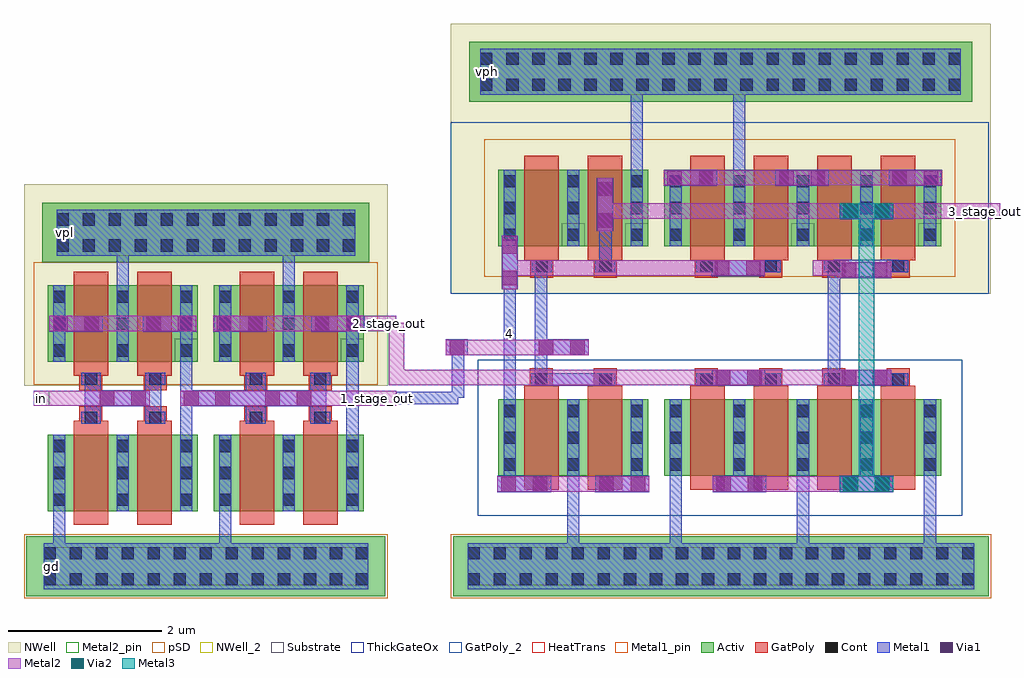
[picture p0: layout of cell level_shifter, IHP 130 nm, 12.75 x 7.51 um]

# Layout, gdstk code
from math import pi, radians
import gdstk
lib = gdstk.Library(unit=1e-6, precision=1e-09)
def R(c, l, rs):  # rectangles x0, y0, x1, y1
    for r in rs: c.add(gdstk.rectangle(r[:2], r[2:], *l))
def A(c, l, x, y, w, h, nx, ny, dx, dy):  # array of equal rectangles
    R(c, l, [(x+i*dx, y+j*dy, x+i*dx+w, y+j*dy+h) for i in range(nx) for j in range(ny)])
Activ = (1, 0)
GatPoly = (5, 0)
GatPoly_2 = (5, 2)
Cont = (6, 0)
Metal1 = (8, 0)
Metal1_pin = (8, 2)
Metal2 = (10, 0)
Metal2_pin = (10, 2)
pSD = (14, 0)
Via1 = (19, 0)
Via2 = (29, 0)
Metal3 = (30, 0)
NWell = (31, 0)
NWell_2 = (31, 2)
Substrate = (40, 0)
ThickGateOx = (44, 0)
HeatTrans = (51, 0)

nmos = lib.new_cell('nmos')
R(nmos, Activ, [(0,0,0.3,0.3), (0,0,1.13,1), (0.83,0,1.13,0.3)])
R(nmos, GatPoly, [(0.34,-0.18,0.79,1.18)])
R(nmos, GatPoly_2, [(0.34,-0.18,0.79,1.18)])
A(nmos, Cont, 0.07, 0.07, 0.16, 0.16, 1, 3, 0, 0.35)
A(nmos, Cont, 0.9, 0.07, 0.16, 0.16, 1, 3, 0, 0.35)
R(nmos, Metal1, [(0.07,0,0.23,1), (0.9,0,1.06,1)])
R(nmos, Metal1_pin, [(0.07,0,0.23,1), (0.9,0,1.06,1)])
R(nmos, HeatTrans, [(0.34,-0.18,0.79,1.18)])
nmos.add(gdstk.Label('nmos', (0.565,0.5), layer=63, texttype=0))
nmos.add(gdstk.Label('nmos', (0.565,0.5), layer=51, texttype=0))

pmos = lib.new_cell('pmos')
A(pmos, Activ, 0, 0, 0.3, 0.3, 3, 1, 0.83, 0)
R(pmos, Activ, [(0,0,1.96,1)])
R(pmos, GatPoly, [(0.34,-0.18,0.79,1.18), (0.34,-0.18,0.79,1.18), (1.17,-0.18,1.62,1.18)])
A(pmos, Cont, 0.07, 0.07, 0.16, 0.16, 3, 3, 0.83, 0.35)
R(pmos, Metal1, [(0.07,0,0.23,1), (0.07,0,0.23,1), (0.9,0,1.06,1), (0.9,0,1.06,1), (1.73,0,1.89,1)])
R(pmos, pSD, [(-0.18,-0.3,2.14,1.3)])
R(pmos, NWell, [(-0.31,-0.31,2.27,1.31)])
R(pmos, Substrate, [(1.66,0,1.96,0.3)])
R(pmos, HeatTrans, [(0.34,-0.18,0.79,1.18), (1.17,-0.18,1.62,1.18)])
pmos.add(gdstk.Label('pmos', (0.565,0.5), layer=63, texttype=0))
pmos.add(gdstk.Label('pmos', (0.565,0.5), layer=51, texttype=0))
pmos.add(gdstk.Label('pmos', (1.395,0.5), layer=51, texttype=0))

ntap1 = lib.new_cell('ntap1')
R(ntap1, Activ, [(0,0,4.27,0.78)])
A(ntap1, Cont, 0.185, 0.14, 0.16, 0.16, 12, 2, 0.34, 0.34)
R(ntap1, Metal1, [(0.185,0.09,4.085,0.69)])
R(ntap1, Metal1_pin, [(0.185,0.09,4.085,0.69), (0.185,0.14,4.085,0.64)])
R(ntap1, NWell, [(-0.24,-0.24,4.51,1.02), (0,0,4.27,0.78)])
R(ntap1, NWell_2, [(0,0,4.27,0.78)])
ntap1.add(gdstk.Label('well', (2.135,0.01), layer=31, texttype=0))
ntap1.add(gdstk.Label('well', (2.135,0.01), layer=63, texttype=0))

via_3 = lib.new_cell('Via$3')
R(via_3, Metal1, [(-0.35,-0.105,0.35,0.105)])
R(via_3, Metal2, [(-0.35,-0.1,0.35,0.1)])
R(via_3, Via1, [(-0.3,-0.095,-0.11,0.095), (0.11,-0.095,0.3,0.095)])

ptap1 = lib.new_cell('ptap1')
R(ptap1, Activ, [(0,0,4.69,0.78)])
A(ptap1, Cont, 0.225, 0.14, 0.16, 0.16, 13, 2, 0.34, 0.34)
R(ptap1, Metal1, [(0.225,0.09,4.465,0.69), (0.225,0.14,4.465,0.64)])
R(ptap1, Metal1_pin, [(0.225,0.14,4.465,0.64)])
R(ptap1, pSD, [(-0.03,-0.03,4.72,0.81)])
R(ptap1, Substrate, [(0,0,4.69,0.78)])
ptap1.add(gdstk.Label('sub!', (2.345,0.01), layer=63, texttype=0))
ptap1.add(gdstk.Label('sub!', (2.345,0.01), layer=40, texttype=0))

via = lib.new_cell('Via')
R(via, GatPoly, [(-0.15,-0.15,0.15,0.15)])
R(via, Cont, [(-0.08,-0.08,0.08,0.08)])
R(via, Metal1, [(-0.13,-0.08,0.13,0.08)])

pmoshv = lib.new_cell('pmosHV')
R(pmoshv, Activ, [(0,0,0.3,0.3), (0,0,1.13,1), (0.83,0,1.13,0.3)])
R(pmoshv, GatPoly, [(0.34,-0.18,0.79,1.18)])
R(pmoshv, GatPoly_2, [(0.34,-0.18,0.79,1.18)])
A(pmoshv, Cont, 0.07, 0.07, 0.16, 0.16, 1, 3, 0, 0.35)
A(pmoshv, Cont, 0.9, 0.07, 0.16, 0.16, 1, 3, 0, 0.35)
R(pmoshv, Metal1, [(0.07,0,0.23,1), (0.9,0,1.06,1)])
R(pmoshv, Metal1_pin, [(0.07,0,0.23,1), (0.9,0,1.06,1)])
R(pmoshv, pSD, [(-0.18,-0.4,1.31,1.4)])
R(pmoshv, NWell, [(-0.62,-0.62,1.75,1.62)])
R(pmoshv, Substrate, [(0.83,0,1.13,0.3)])
R(pmoshv, ThickGateOx, [(-0.62,-0.62,1.75,1.62)])
R(pmoshv, HeatTrans, [(0.34,-0.18,0.79,1.18)])
pmoshv.add(gdstk.Label('pmosHV', (0.565,0.5), layer=63, texttype=0))
pmoshv.add(gdstk.Label('pmos', (0.565,0.5), layer=51, texttype=0))

pmoshv_1 = lib.new_cell('pmosHV$1')
A(pmoshv_1, Activ, 0, 0, 0.3, 0.3, 3, 1, 0.83, 0)
R(pmoshv_1, Activ, [(0,0,1.96,1)])
R(pmoshv_1, GatPoly, [(0.34,-0.18,0.79,1.18), (1.17,-0.18,1.62,1.18)])
R(pmoshv_1, GatPoly_2, [(0.34,-0.18,0.79,1.18)])
A(pmoshv_1, Cont, 0.07, 0.07, 0.16, 0.16, 3, 3, 0.83, 0.35)
A(pmoshv_1, Metal1, 0.07, 0, 0.16, 1, 3, 1, 0.83, 0)
R(pmoshv_1, Metal1_pin, [(0.07,0,0.23,1), (0.9,0,1.06,1)])
R(pmoshv_1, pSD, [(-0.18,-0.4,2.14,1.4)])
R(pmoshv_1, NWell, [(-0.62,-0.62,2.58,1.62)])
R(pmoshv_1, Substrate, [(1.66,0,1.96,0.3)])
R(pmoshv_1, ThickGateOx, [(-0.62,-0.62,2.58,1.62)])
R(pmoshv_1, HeatTrans, [(0.34,-0.18,0.79,1.18), (1.17,-0.18,1.62,1.18)])
pmoshv_1.add(gdstk.Label('pmosHV', (0.565,0.5), layer=63, texttype=0))
pmoshv_1.add(gdstk.Label('pmos', (0.565,0.5), layer=51, texttype=0))
pmoshv_1.add(gdstk.Label('pmos', (1.395,0.5), layer=51, texttype=0))

nmoshv_1 = lib.new_cell('nmosHV$1')
A(nmoshv_1, Activ, 0, 0, 0.3, 0.3, 5, 1, 0.83, 0)
R(nmoshv_1, Activ, [(0,0,3.62,1)])
A(nmoshv_1, GatPoly, 0.34, -0.18, 0.45, 1.36, 4, 1, 0.83, 0)
R(nmoshv_1, GatPoly_2, [(0.34,-0.18,0.79,1.18)])
A(nmoshv_1, Cont, 0.07, 0.07, 0.16, 0.16, 5, 3, 0.83, 0.35)
A(nmoshv_1, Metal1, 0.07, 0, 0.16, 1, 5, 1, 0.83, 0)
R(nmoshv_1, Metal1_pin, [(0.07,0,0.23,1), (0.9,0,1.06,1)])
R(nmoshv_1, ThickGateOx, [(-0.27,-0.52,3.89,1.52)])
A(nmoshv_1, HeatTrans, 0.34, -0.18, 0.45, 1.36, 4, 1, 0.83, 0)
nmoshv_1.add(gdstk.Label('nmosHV', (0.565,0.5), layer=63, texttype=0))
nmoshv_1.add(gdstk.Label('nmosHV', (0.565,0.5), layer=51, texttype=0))
nmoshv_1.add(gdstk.Label('nmosHV', (1.395,0.5), layer=51, texttype=0))
nmoshv_1.add(gdstk.Label('nmosHV', (2.225,0.5), layer=51, texttype=0))
nmoshv_1.add(gdstk.Label('nmosHV', (3.055,0.5), layer=51, texttype=0))

ntap1_1 = lib.new_cell('ntap1$1')
R(ntap1_1, Activ, [(0,0,6.57,0.78)])
A(ntap1_1, Cont, 0.145, 0.14, 0.16, 0.16, 19, 2, 0.34, 0.34)
R(ntap1_1, Metal1, [(0.145,0.09,6.425,0.69)])
R(ntap1_1, Metal1_pin, [(0.145,0.09,6.425,0.69), (0.145,0.14,6.425,0.64)])
R(ntap1_1, NWell, [(-0.24,-0.24,6.81,1.02), (0,0,6.57,0.78)])
R(ntap1_1, NWell_2, [(0,0,6.57,0.78)])
ntap1_1.add(gdstk.Label('well', (3.285,0.01), layer=31, texttype=0))
ntap1_1.add(gdstk.Label('well', (3.285,0.01), layer=63, texttype=0))

nmoshv = lib.new_cell('nmosHV')
A(nmoshv, Activ, 0, 0, 0.3, 0.3, 3, 1, 0.83, 0)
R(nmoshv, Activ, [(0,0,1.96,1)])
R(nmoshv, GatPoly, [(0.34,-0.18,0.79,1.18), (1.17,-0.18,1.62,1.18)])
R(nmoshv, GatPoly_2, [(0.34,-0.18,0.79,1.18)])
A(nmoshv, Cont, 0.07, 0.07, 0.16, 0.16, 3, 3, 0.83, 0.35)
A(nmoshv, Metal1, 0.07, 0, 0.16, 1, 3, 1, 0.83, 0)
R(nmoshv, Metal1_pin, [(0.07,0,0.23,1), (0.9,0,1.06,1)])
R(nmoshv, ThickGateOx, [(-0.27,-0.52,2.23,1.52)])
R(nmoshv, HeatTrans, [(0.34,-0.18,0.79,1.18), (1.17,-0.18,1.62,1.18)])
nmoshv.add(gdstk.Label('nmosHV', (0.565,0.5), layer=63, texttype=0))
nmoshv.add(gdstk.Label('nmosHV', (0.565,0.5), layer=51, texttype=0))
nmoshv.add(gdstk.Label('nmosHV', (1.395,0.5), layer=51, texttype=0))

ptap1_1 = lib.new_cell('ptap1$1')
R(ptap1_1, Activ, [(0,0,7,0.78)])
A(ptap1_1, Cont, 0.19, 0.14, 0.16, 0.16, 20, 2, 0.34, 0.34)
R(ptap1_1, Metal1, [(0.19,0.09,6.81,0.69), (0.19,0.14,6.81,0.64)])
R(ptap1_1, Metal1_pin, [(0.19,0.14,6.81,0.64)])
R(ptap1_1, pSD, [(-0.03,-0.03,7.03,0.81)])
R(ptap1_1, Substrate, [(0,0,7,0.78)])
ptap1_1.add(gdstk.Label('sub!', (3.5,0.01), layer=63, texttype=0))
ptap1_1.add(gdstk.Label('sub!', (3.5,0.01), layer=40, texttype=0))

via_2 = lib.new_cell('Via$2')
R(via_2, Metal1, [(-0.35,-0.105,0.35,0.105)])
R(via_2, Metal2, [(-0.35,-0.1,0.35,0.1)])
R(via_2, Via1, [(-0.3,-0.095,-0.11,0.095), (0.11,-0.095,0.3,0.095)])

via_7 = lib.new_cell('Via$7')
R(via_7, Metal2, [(-0.35,-0.1,0.35,0.1)])
R(via_7, Via2, [(-0.3,-0.095,-0.11,0.095), (0.11,-0.095,0.3,0.095)])
R(via_7, Metal3, [(-0.35,-0.1,0.35,0.1)])

via_4 = lib.new_cell('Via$4')
R(via_4, Metal1, [(-0.145,-0.105,0.145,0.105)])
R(via_4, Metal2, [(-0.145,-0.1,0.145,0.1)])
R(via_4, Via1, [(-0.095,-0.095,0.095,0.095)])

level_shifter = lib.new_cell('level_shifter')
R(level_shifter, Metal1, [(24.51,24.025,24.56,24.375), (25.14,24.025,25.35,24.375), (26.455,24.025,26.505,24.375), (26.665,24.025,26.715,24.375), (27.295,24.025,27.35,24.375), (26.295,24.095,26.675,24.305)])
R(level_shifter, Metal1_pin, [(23.81,21.905,24.01,22.105), (23.98,26.265,24.18,26.465), (29.515,28.365,29.715,28.565)])
R(level_shifter, Metal2_pin, [(23.685,24.1,23.885,24.3)])
R(level_shifter, NWell, [(29.13,25.565,36.185,29.095)])
level_shifter.add(gdstk.FlexPath([(24.015,22.725),(24.015,22.305)], 0.16, ends="flush", simple_path=True, layer=8, datatype=0))  # Metal1
level_shifter.add(gdstk.FlexPath([(26.585,23.945),(26.585,24.455)], 0.16, ends="flush", simple_path=True, layer=8, datatype=0))  # Metal1
level_shifter.add(gdstk.FlexPath([(27.425,23.945),(27.425,24.455)], 0.16, ends="flush", simple_path=True, layer=8, datatype=0))  # Metal1
level_shifter.add(gdstk.FlexPath([(26.215,25.175),(26.215,25.175)], 0.16, ends="flush", simple_path=True, layer=8, datatype=0))  # Metal1
level_shifter.add(gdstk.FlexPath([(27.845,24.675),(27.845,23.725)], 0.16, ends="flush", simple_path=True, layer=8, datatype=0))  # Metal1
level_shifter.add(gdstk.FlexPath([(26.185,22.725),(26.185,22.305)], 0.16, ends="flush", simple_path=True, layer=8, datatype=0))  # Metal1
level_shifter.add(gdstk.FlexPath([(24.845,25.675),(24.845,26.065)], 0.16, ends="flush", simple_path=True, layer=8, datatype=0))  # Metal1
level_shifter.add(gdstk.FlexPath([(27.015,25.675),(27.015,26.065)], 0.16, ends="flush", simple_path=True, layer=8, datatype=0))  # Metal1
level_shifter.add(gdstk.FlexPath([(24.43,23.945),(24.43,24.455)], 0.16, ends="flush", simple_path=True, layer=8, datatype=0))  # Metal1
level_shifter.add(gdstk.FlexPath([(25.27,23.945),(25.27,24.455)], 0.16, ends="flush", simple_path=True, layer=8, datatype=0))  # Metal1
level_shifter.add(gdstk.FlexPath([(25.675,24.675),(25.675,23.725)], 0.16, ends="flush", simple_path=True, layer=8, datatype=0))  # Metal1
level_shifter.add(gdstk.FlexPath([(24.015,25.175),(24.015,25.175)], 0.16, ends="flush", simple_path=True, layer=8, datatype=0))  # Metal1
level_shifter.add(gdstk.FlexPath([(28.42,24.205),(29.225,24.205)], 0.16, ends="flush", simple_path=True, layer=8, datatype=0))  # Metal1
level_shifter.add(gdstk.FlexPath([(29.225,24.21),(29.225,24.865)], 0.16, ends="flush", simple_path=True, layer=8, datatype=0))  # Metal1
level_shifter.add(gdstk.FlexPath([(31.15,24.445),(30.31,24.445)], 0.16, ends="flush", simple_path=True, layer=8, datatype=0))  # Metal1
level_shifter.add(gdstk.FlexPath([(30.31,25.925),(30.31,24.445)], 0.16, ends="flush", simple_path=True, layer=8, datatype=0))  # Metal1
level_shifter.add(gdstk.FlexPath([(30.31,25.135),(30.31,25.135)], 0.16, ends="flush", simple_path=True, layer=8, datatype=0))  # Metal1
level_shifter.add(gdstk.FlexPath([(29.9,26.185),(29.9,24.185)], 0.16, ends="flush", simple_path=True, layer=8, datatype=0))  # Metal1
level_shifter.add(gdstk.FlexPath([(30.73,23.185),(30.73,22.305)], 0.16, ends="flush", simple_path=True, layer=8, datatype=0))  # Metal1
level_shifter.add(gdstk.FlexPath([(31.56,27.185),(31.56,28.165)], 0.16, ends="flush", simple_path=True, layer=8, datatype=0))  # Metal1
level_shifter.add(gdstk.FlexPath([(32.9,27.185),(32.9,28.165)], 0.16, ends="flush", simple_path=True, layer=8, datatype=0))  # Metal1
level_shifter.add(gdstk.FlexPath([(34.135,25.93),(34.975,25.93)], 0.16, ends="flush", simple_path=True, layer=8, datatype=0))  # Metal1
level_shifter.add(gdstk.FlexPath([(31.15,25.925),(31.15,25.925)], 0.16, ends="flush", simple_path=True, layer=8, datatype=0))  # Metal1
level_shifter.add(gdstk.FlexPath([(34.56,26.645),(34.56,26.645)], 0.16, ends="flush", simple_path=True, layer=8, datatype=0))  # Metal1
level_shifter.add(gdstk.FlexPath([(34.135,25.93),(34.135,24.445)], 0.16, ends="flush", simple_path=True, layer=8, datatype=0))  # Metal1
level_shifter.add(gdstk.FlexPath([(31.15,25.925),(31.15,26.645)], 0.16, ends="flush", simple_path=True, layer=8, datatype=0))  # Metal1
level_shifter.add(gdstk.FlexPath([(32.47,24.445),(33.31,24.445)], 0.16, ends="flush", simple_path=True, layer=8, datatype=0))  # Metal1
level_shifter.add(gdstk.FlexPath([(34.135,24.445),(34.975,24.445)], 0.16, ends="flush", simple_path=True, layer=8, datatype=0))  # Metal1
level_shifter.add(gdstk.FlexPath([(34.135,25.93),(34.975,25.93)], 0.16, ends="flush", simple_path=True, layer=8, datatype=0))  # Metal1
level_shifter.add(gdstk.FlexPath([(29.92,23.08),(29.92,23.08)], 0.16, ends="flush", simple_path=True, layer=8, datatype=0))  # Metal1
level_shifter.add(gdstk.FlexPath([(32.07,23.185),(32.07,22.305)], 0.16, ends="flush", simple_path=True, layer=8, datatype=0))  # Metal1
level_shifter.add(gdstk.FlexPath([(33.73,23.185),(33.73,22.305)], 0.16, ends="flush", simple_path=True, layer=8, datatype=0))  # Metal1
level_shifter.add(gdstk.FlexPath([(35.39,23.185),(35.39,22.305)], 0.16, ends="flush", simple_path=True, layer=8, datatype=0))  # Metal1
level_shifter.add(gdstk.FlexPath([(32.64,25.9),(29.9,25.9)], 0.2, ends="flush", simple_path=True, layer=10, datatype=0))  # Metal2
level_shifter.add(gdstk.FlexPath([(24.64,24.2),(23.685,24.2)], 0.2, ends="flush", simple_path=True, layer=10, datatype=0))  # Metal2
level_shifter.add(gdstk.FlexPath([(26.15,24.2),(26.8,24.2)], 0.2, ends="flush", simple_path=True, layer=10, datatype=0))  # Metal2
level_shifter.add(gdstk.FlexPath([(26.64,25.175),(27.45,25.175)], 0.2, ends="flush", simple_path=True, layer=10, datatype=0))  # Metal2
level_shifter.add(gdstk.FlexPath([(27.21,24.2),(28.42,24.2)], 0.2, ends="flush", simple_path=True, layer=10, datatype=0))  # Metal2
level_shifter.add(gdstk.FlexPath([(27.86,25.175),(28.42,25.175)], 0.2, ends="flush", simple_path=True, layer=10, datatype=0))  # Metal2
level_shifter.add(gdstk.FlexPath([(28.42,24.205),(28.42,24.205)], 0.2, ends="flush", simple_path=True, layer=10, datatype=0))  # Metal2
level_shifter.add(gdstk.FlexPath([(24.44,25.175),(25.25,25.175)], 0.2, ends="flush", simple_path=True, layer=10, datatype=0))  # Metal2
level_shifter.add(gdstk.FlexPath([(34.74,24.47),(29.065,24.47)], 0.2, ends="flush", simple_path=True, layer=10, datatype=0))  # Metal2
level_shifter.add(gdstk.FlexPath([(28.42,25.185),(28.42,24.47),(29.22,24.47),(29.22,24.47)], 0.2, ends="flush", simple_path=True, layer=10, datatype=0))  # Metal2
level_shifter.add(gdstk.FlexPath([(30.375,24.865),(29.13,24.865)], 0.2, ends="flush", simple_path=True, layer=10, datatype=0))  # Metal2
level_shifter.add(gdstk.FlexPath([(30.345,23.08),(31.155,23.08)], 0.2, ends="flush", simple_path=True, layer=10, datatype=0))  # Metal2
level_shifter.add(gdstk.FlexPath([(33.86,25.9),(34.33,25.9)], 0.2, ends="flush", simple_path=True, layer=10, datatype=0))  # Metal2
level_shifter.add(gdstk.FlexPath([(34.56,26.645),(34.56,26.645)], 0.2, ends="flush", simple_path=True, layer=10, datatype=0))  # Metal2
level_shifter.add(gdstk.FlexPath([(32.055,27.08),(35.55,27.08)], 0.2, ends="flush", simple_path=True, layer=10, datatype=0))  # Metal2
level_shifter.add(gdstk.FlexPath([(34.765,26.645),(31.145,26.645)], 0.2, ends="flush", simple_path=True, layer=10, datatype=0))  # Metal2
level_shifter.add(gdstk.FlexPath([(34.355,23.08),(32.9,23.08)], 0.2, ends="flush", simple_path=True, layer=10, datatype=0))  # Metal2
level_shifter.add(gdstk.FlexPath([(34.765,26.645),(36.305,26.645)], 0.2, ends="flush", simple_path=True, layer=10, datatype=0))  # Metal2
level_shifter.add(gdstk.FlexPath([(34.56,26.645),(34.56,23.08)], 0.2, ends="flush", simple_path=True, layer=30, datatype=0))  # Metal3
level_shifter.add(gdstk.FlexPath([(26.585,24.495),(26.585,24.495)], 0.16, ends="flush", simple_path=True, layer=5, datatype=0))  # GatPoly
level_shifter.add(gdstk.FlexPath([(24.43,24.495),(24.43,24.495)], 0.16, ends="flush", simple_path=True, layer=5, datatype=0))  # GatPoly
level_shifter.add(gdstk.Reference(nmos, (23.865,22.725)))
level_shifter.add(gdstk.Reference(nmos, (24.695,22.725)))
level_shifter.add(gdstk.Reference(pmos, (26.035,24.675)))
level_shifter.add(gdstk.Reference(nmos, (26.035,22.725)))
level_shifter.add(gdstk.Reference(nmos, (26.865,22.725)))
level_shifter.add(gdstk.Reference(ntap1, (23.795,25.975)))
level_shifter.add(gdstk.Reference(via_3, (25.455,25.175)))
level_shifter.add(gdstk.Reference(via_3, (24.235,25.175)))
level_shifter.add(gdstk.Reference(pmos, (23.865,24.675)))
level_shifter.add(gdstk.Reference(ptap1, (23.585,21.615)))
level_shifter.add(gdstk.Reference(via, (26.585,23.945)))
level_shifter.add(gdstk.Reference(via, (27.425,23.945)))
level_shifter.add(gdstk.Reference(via_3, (27.005,24.2)))
level_shifter.add(gdstk.Reference(via, (26.585,24.455)))
level_shifter.add(gdstk.Reference(via, (27.425,24.455)))
level_shifter.add(gdstk.Reference(via_3, (25.945,24.2)))
level_shifter.add(gdstk.Reference(via_3, (27.655,25.175)))
level_shifter.add(gdstk.Reference(via_3, (26.375,25.175)))
level_shifter.add(gdstk.Reference(pmoshv, (29.75,26.185)))
level_shifter.add(gdstk.Reference(pmoshv, (30.58,26.185)))
level_shifter.add(gdstk.Reference(pmoshv_1, (31.92,26.185)))
level_shifter.add(gdstk.Reference(nmoshv_1, (31.92,23.185)))
level_shifter.add(gdstk.Reference(ntap1_1, (29.37,28.075)))
level_shifter.add(gdstk.Reference(via, (25.27,24.455)))
level_shifter.add(gdstk.Reference(via, (24.43,24.455)))
level_shifter.add(gdstk.Reference(via_3, (24.845,24.2)))
level_shifter.add(gdstk.Reference(via, (25.27,23.945)))
level_shifter.add(gdstk.Reference(via, (24.43,23.945)))
level_shifter.add(gdstk.Reference(via, (30.31,24.445)))
level_shifter.add(gdstk.Reference(via, (31.15,24.445)))
level_shifter.add(gdstk.Reference(nmoshv, (29.75,23.185)))
level_shifter.add(gdstk.Reference(ptap1_1, (29.16,21.615)))
level_shifter.add(gdstk.Reference(via, (30.32,25.925), rotation=pi))
level_shifter.add(gdstk.Reference(via, (31.15,25.925)))
level_shifter.add(gdstk.Reference(via_2, (30.58,24.865)))
level_shifter.add(gdstk.Reference(via, (32.47,24.445)))
level_shifter.add(gdstk.Reference(via, (33.31,24.445)))
level_shifter.add(gdstk.Reference(via, (34.135,24.445), rotation=pi))
level_shifter.add(gdstk.Reference(via, (34.975,24.445)))
level_shifter.add(gdstk.Reference(via, (33.31,25.925)))
level_shifter.add(gdstk.Reference(via, (34.135,25.925)))
level_shifter.add(gdstk.Reference(via_2, (29.9,25.975), rotation=pi/2))
level_shifter.add(gdstk.Reference(via_2, (32.88,25.9)))
level_shifter.add(gdstk.Reference(via_2, (32.26,27.08)))
level_shifter.add(gdstk.Reference(via_2, (33.72,27.08)))
level_shifter.add(gdstk.Reference(via_2, (35.2,27.08)))
level_shifter.add(gdstk.Reference(via_2, (32.89,24.47)))
level_shifter.add(gdstk.Reference(via_3, (30.09,23.08)))
level_shifter.add(gdstk.Reference(via_2, (31.145,26.73), rotation=3*pi/2))
level_shifter.add(gdstk.Reference(via_2, (34.535,25.875)))
level_shifter.add(gdstk.Reference(via_3, (31.37,23.08)))
level_shifter.add(gdstk.Reference(via_2, (34.535,24.47)))
level_shifter.add(gdstk.Reference(via_2, (32.9,23.08)))
level_shifter.add(gdstk.Reference(via_2, (34.56,26.645)))
level_shifter.add(gdstk.Reference(via_7, (34.56,26.645)))
level_shifter.add(gdstk.Reference(via_2, (34.56,23.08)))
level_shifter.add(gdstk.Reference(via_7, (34.56,23.08)))
level_shifter.add(gdstk.Reference(via_4, (29.21,24.865)))
level_shifter.add(gdstk.Reference(via, (32.47,25.925)))
level_shifter.add(gdstk.Reference(via, (34.975,25.925)))
level_shifter.add(gdstk.Reference(pmoshv_1, (33.58,26.185)))
level_shifter.add(gdstk.Label('in', (23.785,24.2), layer=10, texttype=25))
level_shifter.add(gdstk.Label('2_stage_out', (28.335,25.175), layer=10, texttype=25))
level_shifter.add(gdstk.Label('1_stage_out', (28.17,24.2), layer=10, texttype=25))
level_shifter.add(gdstk.Label('3_stage_out', (36.24,26.645), layer=10, texttype=25))
level_shifter.add(gdstk.Label('vpl', (24.08,26.365), layer=8, texttype=25))
level_shifter.add(gdstk.Label('gd', (23.91,22.005), layer=8, texttype=25))
level_shifter.add(gdstk.Label('vph', (29.615,28.465), layer=8, texttype=25))
level_shifter.add(gdstk.Label('4', (29.9,25.045), layer=8, texttype=25))

lib.write_gds('level_shifter.gds')
